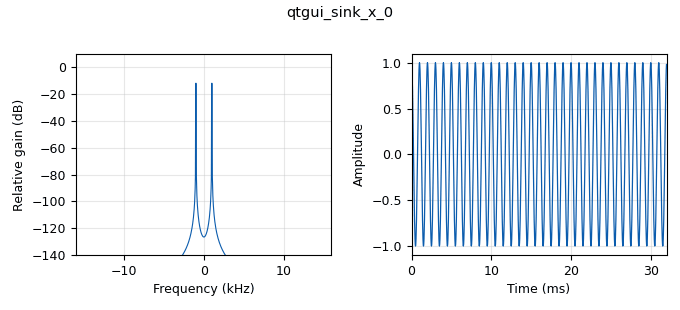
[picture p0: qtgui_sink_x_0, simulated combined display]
options:
  parameters:
    author: mhetu
    generate_options: qt_gui
    id: default
    output_language: python
    title: Not titled yet
  states: {}

blocks:
- name: samp_rate
  id: variable
  parameters:
    value: '32000'
  states: {}
- name: analog_sig_source_x_0
  id: analog_sig_source_x
  parameters:
    amp: '1'
    freq: '1000'
    offset: '0'
    phase: '0'
    samp_rate: samp_rate
    type: complex
    waveform: analog.GR_COS_WAVE
  states: {}
- name: blocks_complex_to_float_0
  id: blocks_complex_to_float
  parameters: {}
  states: {}
- name: blocks_file_sink_0
  id: blocks_file_sink
  parameters:
    file: filesink_test_data.dat
    type: float
  states: {}
- name: blocks_head_0
  id: blocks_head
  parameters:
    num_items: '10000000'
    type: complex
  states: {}
- name: qtgui_sink_x_0
  id: qtgui_sink_x
  parameters:
    bw: samp_rate
    fc: '0'
    fftsize: '1024'
    type: float
    wintype: window.WIN_HANN
  states: {}

connections:
- [analog_sig_source_x_0, '0', blocks_head_0, '0']
- [blocks_complex_to_float_0, '0', blocks_file_sink_0, '0']
- [blocks_complex_to_float_0, '0', qtgui_sink_x_0, '0']
- [blocks_head_0, '0', blocks_complex_to_float_0, '0']

metadata:
  file_format: 1
  grc_version: 3.9.8.0-rc1
